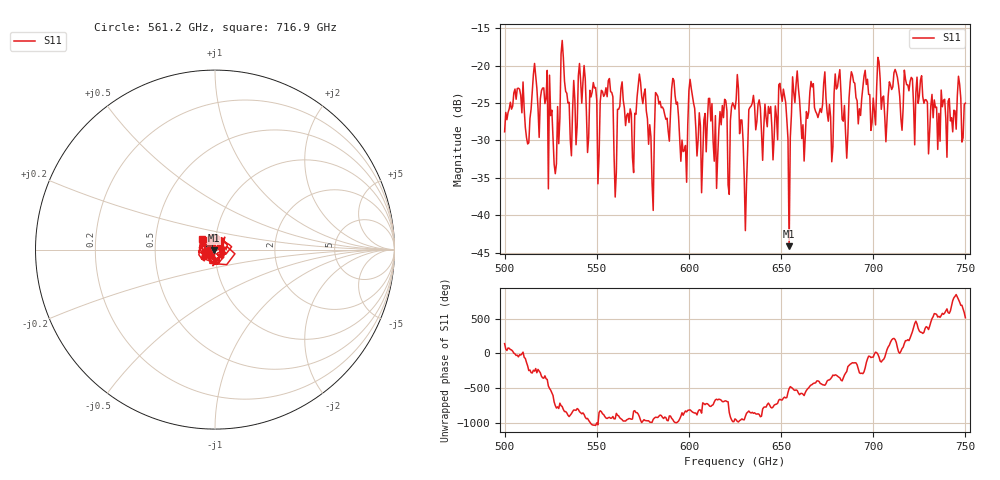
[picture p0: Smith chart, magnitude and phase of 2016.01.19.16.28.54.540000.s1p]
!Created with skrf (http://scikit-rf.org).
# GHz S RI R 50.0
!freq ReS11 ImS11
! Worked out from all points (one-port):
!   401 points, 500 GHz to 750 GHz, reference 50 ohm
!   lowest |S11| = -44.1 dB at 654.4 GHz (marker M1), VSWR 1.01, Z = 49.5 - j0.356 ohm
!   |S11| at or under -10 dB: start of sweep to end of sweep
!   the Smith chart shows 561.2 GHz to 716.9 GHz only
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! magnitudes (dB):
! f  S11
! 500 GHz  -28.8
! 506.9 GHz  -23.1
! 512.5 GHz  -30.5
! 516.2 GHz  -19.7
! 528.1 GHz  -33.1
! 531.2 GHz  -16.6
! 535.6 GHz  -29.9
! 557.5 GHz  -23.5
! 560.6 GHz  -34.2
! 562.5 GHz  -25.4
! 570 GHz  -34.3
! 574.4 GHz  -24.1
! 579.4 GHz  -29.5
! 583.1 GHz  -24.1
! 593.8 GHz  -24.9
! 597.5 GHz  -31.4
! 611.2 GHz  -24.4
! 614.4 GHz  -26.7
! 625 GHz  -25.8
! 630.6 GHz  -42.0
! 634.4 GHz  -25.0
! 646.9 GHz  -25.4
! 650 GHz  -23.8
! 654.4 GHz  -44.1
! 656.2 GHz  -21.5
! 687.5 GHz  -22.2
! 718.8 GHz  -22.6
! 750 GHz  -25.0
